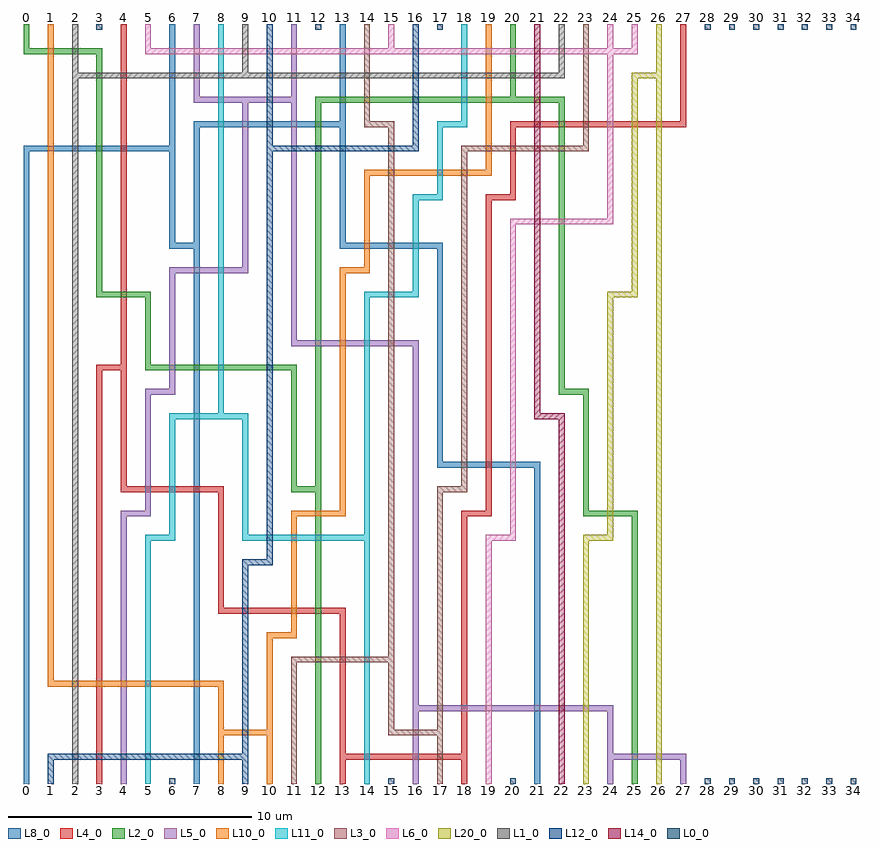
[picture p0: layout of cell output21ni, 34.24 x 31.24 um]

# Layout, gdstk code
import gdstk
lib = gdstk.Library(unit=1e-6, precision=1e-09)
def R(c, l, rs):  # rectangles x0, y0, x1, y1
    for r in rs: c.add(gdstk.rectangle(r[:2], r[2:], *l))
def A(c, l, x, y, w, h, nx, ny, dx, dy):  # array of equal rectangles
    R(c, l, [(x+i*dx, y+j*dy, x+i*dx+w, y+j*dy+h) for i in range(nx) for j in range(ny)])
L0_0 = (0, 0)
L1_0 = (1, 0)
L2_0 = (2, 0)
L3_0 = (3, 0)
L4_0 = (4, 0)
L5_0 = (5, 0)
L6_0 = (6, 0)
L8_0 = (8, 0)
L10_0 = (10, 0)
L11_0 = (11, 0)
L12_0 = (12, 0)
L14_0 = (14, 0)
L20_0 = (20, 0)

output21ni = lib.new_cell('output21ni')
A(output21ni, L0_0, 27.88, -0.12, 0.24, 0.24, 7, 2, 1, 31)
R(output21ni, L0_0, [(5.88,-0.12,6.12,0.12), (14.88,-0.12,15.12,0.12), (19.88,-0.12,20.12,0.12), (2.88,30.88,3.12,31.12), (11.88,30.88,12.12,31.12), (16.88,30.88,17.12,31.12)])
A(output21ni, L1_0, 1.88, 28.88, 1.24, 0.24, 20, 1, 1, 0)
R(output21ni, L1_0, [(1.88,-0.12,2.12,2.12), (1.88,-0.12,2.12,0.12), (1.88,1.88,2.12,29.12), (1.88,28.88,2.12,31.12), (8.88,28.88,9.12,31.12), (21.88,28.88,22.12,31.12), (1.88,30.88,2.12,31.12), (8.88,30.88,9.12,31.12), (21.88,30.88,22.12,31.12)])
A(output21ni, L2_0, 4.88, 16.88, 1.24, 0.24, 6, 1, 1, 0)
A(output21ni, L2_0, 11.88, 27.88, 1.24, 0.24, 10, 1, 1, 0)
A(output21ni, L2_0, -0.12, 29.88, 1.24, 0.24, 3, 1, 1, 0)
R(output21ni, L2_0, [(11.88,-0.12,12.12,1.12), (11.88,-0.12,12.12,0.12), (24.88,-0.12,25.12,2.12), (24.88,-0.12,25.12,0.12), (11.88,0.88,12.12,12.12), (24.88,1.88,25.12,11.12), (22.88,10.88,23.12,16.12), (22.88,10.88,24.12,11.12), (23.88,10.88,25.12,11.12), (10.88,11.88,11.12,17.12), (10.88,11.88,12.12,12.12), (11.88,11.88,12.12,17.12), (21.88,15.88,22.12,19.12), (21.88,15.88,23.12,16.12), (4.88,16.88,5.12,20.12), (11.88,16.88,12.12,22.12), (21.88,18.88,22.12,24.12), (2.88,19.88,3.12,25.12), (2.88,19.88,4.12,20.12), (3.88,19.88,5.12,20.12), (11.88,21.88,12.12,25.12), (21.88,23.88,22.12,28.12), (2.88,24.88,3.12,30.12), (11.88,24.88,12.12,28.12), (19.88,27.88,20.12,31.12), (-0.12,29.88,0.12,31.12), (-0.12,30.88,0.12,31.12), (19.88,30.88,20.12,31.12)])
A(output21ni, L3_0, 10.88, 4.88, 1.24, 0.24, 4, 1, 1, 0)
A(output21ni, L3_0, 17.88, 25.88, 1.24, 0.24, 5, 1, 1, 0)
R(output21ni, L3_0, [(10.88,-0.12,11.12,1.12), (10.88,-0.12,11.12,0.12), (16.88,-0.12,17.12,2.12), (16.88,-0.12,17.12,0.12), (10.88,0.88,11.12,5.12), (14.88,1.88,15.12,5.12), (14.88,1.88,16.12,2.12), (15.88,1.88,17.12,2.12), (16.88,1.88,17.12,7.12), (14.88,4.88,15.12,27.12), (16.88,6.88,17.12,12.12), (16.88,11.88,18.12,12.12), (17.88,11.88,18.12,17.12), (17.88,16.88,18.12,22.12), (17.88,21.88,18.12,26.12), (22.88,25.88,23.12,29.12), (13.88,26.88,14.12,31.12), (13.88,26.88,15.12,27.12), (22.88,28.88,23.12,31.12), (13.88,30.88,14.12,31.12), (22.88,30.88,23.12,31.12)])
A(output21ni, L4_0, 12.88, 0.88, 1.24, 0.24, 5, 1, 1, 0)
A(output21ni, L4_0, 2.88, 1.88, 0.24, 5.24, 1, 3, 0, 5)
A(output21ni, L4_0, 7.88, 6.88, 1.24, 0.24, 5, 1, 1, 0)
A(output21ni, L4_0, 3.88, 11.88, 1.24, 0.24, 4, 1, 1, 0)
A(output21ni, L4_0, 19.88, 26.88, 1.24, 0.24, 7, 1, 1, 0)
R(output21ni, L4_0, [(2.88,-0.12,3.12,2.12), (2.88,-0.12,3.12,0.12), (12.88,-0.12,13.12,1.12), (12.88,-0.12,13.12,0.12), (17.88,-0.12,18.12,1.12), (17.88,-0.12,18.12,0.12), (12.88,0.88,13.12,7.12), (17.88,0.88,18.12,6.12), (17.88,5.88,18.12,11.12), (7.88,6.88,8.12,12.12), (17.88,10.88,19.12,11.12), (18.88,10.88,19.12,16.12), (3.88,11.88,4.12,17.12), (18.88,15.88,19.12,21.12), (2.88,16.88,4.12,17.12), (3.88,16.88,4.12,30.12), (18.88,20.88,19.12,24.12), (18.88,23.88,20.12,24.12), (19.88,23.88,20.12,27.12), (26.88,26.88,27.12,30.12), (3.88,29.88,4.12,31.12), (26.88,29.88,27.12,31.12), (3.88,30.88,4.12,31.12), (26.88,30.88,27.12,31.12)])
A(output21ni, L5_0, 23.88, 0.88, 1.24, 0.24, 3, 1, 1, 0)
A(output21ni, L5_0, 15.88, 2.88, 1.24, 0.24, 8, 1, 1, 0)
A(output21ni, L5_0, 10.88, 17.88, 1.24, 0.24, 5, 1, 1, 0)
A(output21ni, L5_0, 5.88, 20.88, 1.24, 0.24, 3, 1, 1, 0)
A(output21ni, L5_0, 6.88, 27.88, 1.24, 0.24, 4, 1, 1, 0)
R(output21ni, L5_0, [(3.88,-0.12,4.12,2.12), (3.88,-0.12,4.12,0.12), (15.88,-0.12,16.12,3.12), (15.88,-0.12,16.12,0.12), (23.88,-0.12,24.12,1.12), (23.88,-0.12,24.12,0.12), (26.88,-0.12,27.12,1.12), (26.88,-0.12,27.12,0.12), (23.88,0.88,24.12,3.12), (3.88,1.88,4.12,7.12), (15.88,2.88,16.12,18.12), (3.88,6.88,4.12,11.12), (3.88,10.88,5.12,11.12), (4.88,10.88,5.12,16.12), (4.88,15.88,6.12,16.12), (5.88,15.88,6.12,21.12), (10.88,17.88,11.12,23.12), (8.88,20.88,9.12,28.12), (10.88,22.88,11.12,28.12), (6.88,27.88,7.12,31.12), (10.88,27.88,11.12,31.12), (6.88,30.88,7.12,31.12), (10.88,30.88,11.12,31.12)])
A(output21ni, L6_0, 19.88, 22.88, 1.24, 0.24, 4, 1, 1, 0)
A(output21ni, L6_0, 4.88, 29.88, 1.24, 0.24, 20, 1, 1, 0)
R(output21ni, L6_0, [(18.88,-0.12,19.12,1.12), (18.88,-0.12,19.12,0.12), (18.88,0.88,19.12,6.12), (18.88,5.88,19.12,10.12), (18.88,9.88,20.12,10.12), (19.88,9.88,20.12,15.12), (19.88,14.88,20.12,20.12), (19.88,19.88,20.12,23.12), (23.88,22.88,24.12,30.12), (4.88,29.88,5.12,31.12), (14.88,29.88,15.12,31.12), (23.88,29.88,24.12,31.12), (24.88,29.88,25.12,31.12), (4.88,30.88,5.12,31.12), (14.88,30.88,15.12,31.12), (23.88,30.88,24.12,31.12), (24.88,30.88,25.12,31.12)])
A(output21ni, L8_0, -0.12, 0.88, 0.24, 5.24, 1, 5, 0, 5)
A(output21ni, L8_0, 16.88, 12.88, 1.24, 0.24, 4, 1, 1, 0)
A(output21ni, L8_0, 12.88, 21.88, 1.24, 0.24, 4, 1, 1, 0)
A(output21ni, L8_0, -0.12, 25.88, 1.24, 0.24, 6, 1, 1, 0)
A(output21ni, L8_0, 6.88, 26.88, 1.24, 0.24, 6, 1, 1, 0)
R(output21ni, L8_0, [(-0.12,-0.12,0.12,1.12), (-0.12,-0.12,0.12,0.12), (6.88,-0.12,7.12,2.12), (6.88,-0.12,7.12,0.12), (20.88,-0.12,21.12,1.12), (20.88,-0.12,21.12,0.12), (20.88,0.88,21.12,13.12), (6.88,1.88,7.12,22.12), (16.88,12.88,17.12,17.12), (16.88,16.88,17.12,22.12), (5.88,21.88,6.12,26.12), (5.88,21.88,7.12,22.12), (6.88,21.88,7.12,27.12), (12.88,21.88,13.12,27.12), (5.88,25.88,6.12,28.12), (12.88,26.88,13.12,31.12), (5.88,27.88,6.12,31.12), (5.88,30.88,6.12,31.12), (12.88,30.88,13.12,31.12)])
A(output21ni, L10_0, 0.88, 3.88, 0.24, 5.24, 1, 5, 0, 5)
A(output21ni, L10_0, 0.88, 3.88, 1.24, 0.24, 7, 1, 1, 0)
A(output21ni, L10_0, 13.88, 24.88, 1.24, 0.24, 5, 1, 1, 0)
R(output21ni, L10_0, [(7.88,-0.12,8.12,2.12), (7.88,-0.12,8.12,0.12), (9.88,-0.12,10.12,1.12), (9.88,-0.12,10.12,0.12), (9.88,0.88,10.12,2.12), (7.88,1.88,8.12,4.12), (7.88,1.88,9.12,2.12), (8.88,1.88,10.12,2.12), (9.88,1.88,10.12,6.12), (9.88,5.88,11.12,6.12), (10.88,5.88,11.12,11.12), (10.88,10.88,12.12,11.12), (11.88,10.88,13.12,11.12), (12.88,10.88,13.12,16.12), (12.88,15.88,13.12,21.12), (12.88,20.88,14.12,21.12), (13.88,20.88,14.12,25.12), (18.88,24.88,19.12,27.12), (18.88,26.88,19.12,31.12), (0.88,28.88,1.12,31.12), (0.88,30.88,1.12,31.12), (18.88,30.88,19.12,31.12)])
A(output21ni, L11_0, 8.88, 9.88, 1.24, 0.24, 5, 1, 1, 0)
A(output21ni, L11_0, 5.88, 14.88, 1.24, 0.24, 3, 1, 1, 0)
R(output21ni, L11_0, [(4.88,-0.12,5.12,2.12), (4.88,-0.12,5.12,0.12), (13.88,-0.12,14.12,2.12), (13.88,-0.12,14.12,0.12), (4.88,1.88,5.12,7.12), (13.88,1.88,14.12,10.12), (4.88,6.88,5.12,10.12), (4.88,9.88,6.12,10.12), (5.88,9.88,6.12,15.12), (8.88,9.88,9.12,15.12), (13.88,9.88,14.12,15.12), (7.88,14.88,8.12,26.12), (13.88,14.88,14.12,20.12), (13.88,19.88,15.12,20.12), (14.88,19.88,16.12,20.12), (15.88,19.88,16.12,24.12), (15.88,23.88,17.12,24.12), (16.88,23.88,17.12,27.12), (7.88,25.88,8.12,31.12), (16.88,26.88,18.12,27.12), (17.88,26.88,18.12,31.12), (7.88,30.88,8.12,31.12), (17.88,30.88,18.12,31.12)])
A(output21ni, L12_0, 0.88, 0.88, 1.24, 0.24, 8, 1, 1, 0)
A(output21ni, L12_0, 9.88, 25.88, 1.24, 0.24, 6, 1, 1, 0)
R(output21ni, L12_0, [(0.88,-0.12,1.12,1.12), (0.88,-0.12,1.12,0.12), (8.88,-0.12,9.12,1.12), (8.88,-0.12,9.12,0.12), (8.88,0.88,9.12,6.12), (8.88,5.88,9.12,9.12), (8.88,8.88,10.12,9.12), (9.88,8.88,10.12,26.12), (9.88,25.88,10.12,31.12), (15.88,25.88,16.12,27.12), (15.88,26.88,16.12,31.12), (9.88,30.88,10.12,31.12), (15.88,30.88,16.12,31.12)])
R(output21ni, L14_0, [(21.88,-0.12,22.12,1.12), (21.88,-0.12,22.12,0.12), (21.88,0.88,22.12,15.12), (20.88,14.88,21.12,20.12), (20.88,14.88,22.12,15.12), (20.88,19.88,21.12,25.12), (20.88,24.88,21.12,31.12), (20.88,30.88,21.12,31.12)])
R(output21ni, L20_0, [(22.88,-0.12,23.12,1.12), (22.88,-0.12,23.12,0.12), (25.88,-0.12,26.12,31.12), (25.88,-0.12,26.12,0.12), (22.88,0.88,23.12,6.12), (22.88,5.88,23.12,10.12), (22.88,9.88,24.12,10.12), (23.88,9.88,24.12,15.12), (23.88,14.88,24.12,20.12), (23.88,19.88,25.12,20.12), (24.88,19.88,25.12,25.12), (24.88,24.88,25.12,29.12), (24.88,28.88,26.12,29.12), (25.88,30.88,26.12,31.12)])
output21ni.add(gdstk.Label('0', (0,31.4), layer=215, texttype=1))
output21ni.add(gdstk.Label('2', (0,31), layer=215, texttype=1))
output21ni.add(gdstk.Label('1', (1,31.4), layer=215, texttype=1))
output21ni.add(gdstk.Label('10', (1,31), layer=215, texttype=1))
output21ni.add(gdstk.Label('2', (2,31.4), layer=215, texttype=1))
output21ni.add(gdstk.Label('1', (2,31), layer=215, texttype=1))
output21ni.add(gdstk.Label('3', (3,31.4), layer=215, texttype=1))
output21ni.add(gdstk.Label('0', (3,31), layer=215, texttype=1))
output21ni.add(gdstk.Label('4', (4,31.4), layer=215, texttype=1))
output21ni.add(gdstk.Label('4', (4,31), layer=215, texttype=1))
output21ni.add(gdstk.Label('5', (5,31.4), layer=215, texttype=1))
output21ni.add(gdstk.Label('6', (5,31), layer=215, texttype=1))
output21ni.add(gdstk.Label('6', (6,31.4), layer=215, texttype=1))
output21ni.add(gdstk.Label('8', (6,31), layer=215, texttype=1))
output21ni.add(gdstk.Label('7', (7,31.4), layer=215, texttype=1))
output21ni.add(gdstk.Label('5', (7,31), layer=215, texttype=1))
output21ni.add(gdstk.Label('8', (8,31.4), layer=215, texttype=1))
output21ni.add(gdstk.Label('11', (8,31), layer=215, texttype=1))
output21ni.add(gdstk.Label('9', (9,31.4), layer=215, texttype=1))
output21ni.add(gdstk.Label('1', (9,31), layer=215, texttype=1))
output21ni.add(gdstk.Label('10', (10,31.4), layer=215, texttype=1))
output21ni.add(gdstk.Label('12', (10,31), layer=215, texttype=1))
output21ni.add(gdstk.Label('11', (11,31.4), layer=215, texttype=1))
output21ni.add(gdstk.Label('5', (11,31), layer=215, texttype=1))
output21ni.add(gdstk.Label('12', (12,31.4), layer=215, texttype=1))
output21ni.add(gdstk.Label('0', (12,31), layer=215, texttype=1))
output21ni.add(gdstk.Label('13', (13,31.4), layer=215, texttype=1))
output21ni.add(gdstk.Label('8', (13,31), layer=215, texttype=1))
output21ni.add(gdstk.Label('14', (14,31.4), layer=215, texttype=1))
output21ni.add(gdstk.Label('3', (14,31), layer=215, texttype=1))
output21ni.add(gdstk.Label('15', (15,31.4), layer=215, texttype=1))
output21ni.add(gdstk.Label('6', (15,31), layer=215, texttype=1))
output21ni.add(gdstk.Label('16', (16,31.4), layer=215, texttype=1))
output21ni.add(gdstk.Label('12', (16,31), layer=215, texttype=1))
output21ni.add(gdstk.Label('17', (17,31.4), layer=215, texttype=1))
output21ni.add(gdstk.Label('0', (17,31), layer=215, texttype=1))
output21ni.add(gdstk.Label('18', (18,31.4), layer=215, texttype=1))
output21ni.add(gdstk.Label('11', (18,31), layer=215, texttype=1))
output21ni.add(gdstk.Label('19', (19,31.4), layer=215, texttype=1))
output21ni.add(gdstk.Label('10', (19,31), layer=215, texttype=1))
output21ni.add(gdstk.Label('20', (20,31.4), layer=215, texttype=1))
output21ni.add(gdstk.Label('2', (20,31), layer=215, texttype=1))
output21ni.add(gdstk.Label('21', (21,31.4), layer=215, texttype=1))
output21ni.add(gdstk.Label('14', (21,31), layer=215, texttype=1))
output21ni.add(gdstk.Label('22', (22,31.4), layer=215, texttype=1))
output21ni.add(gdstk.Label('1', (22,31), layer=215, texttype=1))
output21ni.add(gdstk.Label('23', (23,31.4), layer=215, texttype=1))
output21ni.add(gdstk.Label('3', (23,31), layer=215, texttype=1))
output21ni.add(gdstk.Label('24', (24,31.4), layer=215, texttype=1))
output21ni.add(gdstk.Label('6', (24,31), layer=215, texttype=1))
output21ni.add(gdstk.Label('25', (25,31.4), layer=215, texttype=1))
output21ni.add(gdstk.Label('6', (25,31), layer=215, texttype=1))
output21ni.add(gdstk.Label('26', (26,31.4), layer=215, texttype=1))
output21ni.add(gdstk.Label('20', (26,31), layer=215, texttype=1))
output21ni.add(gdstk.Label('27', (27,31.4), layer=215, texttype=1))
output21ni.add(gdstk.Label('4', (27,31), layer=215, texttype=1))
output21ni.add(gdstk.Label('28', (28,31.4), layer=215, texttype=1))
output21ni.add(gdstk.Label('0', (28,31), layer=215, texttype=1))
output21ni.add(gdstk.Label('29', (29,31.4), layer=215, texttype=1))
output21ni.add(gdstk.Label('0', (29,31), layer=215, texttype=1))
output21ni.add(gdstk.Label('30', (30,31.4), layer=215, texttype=1))
output21ni.add(gdstk.Label('0', (30,31), layer=215, texttype=1))
output21ni.add(gdstk.Label('31', (31,31.4), layer=215, texttype=1))
output21ni.add(gdstk.Label('0', (31,31), layer=215, texttype=1))
output21ni.add(gdstk.Label('32', (32,31.4), layer=215, texttype=1))
output21ni.add(gdstk.Label('0', (32,31), layer=215, texttype=1))
output21ni.add(gdstk.Label('33', (33,31.4), layer=215, texttype=1))
output21ni.add(gdstk.Label('0', (33,31), layer=215, texttype=1))
output21ni.add(gdstk.Label('34', (34,31.4), layer=215, texttype=1))
output21ni.add(gdstk.Label('0', (34,31), layer=215, texttype=1))
output21ni.add(gdstk.Label('0', (0,-0.4), layer=215, texttype=1))
output21ni.add(gdstk.Label('8', (0,0), layer=215, texttype=1))
output21ni.add(gdstk.Label('1', (1,-0.4), layer=215, texttype=1))
output21ni.add(gdstk.Label('12', (1,0), layer=215, texttype=1))
output21ni.add(gdstk.Label('2', (2,-0.4), layer=215, texttype=1))
output21ni.add(gdstk.Label('1', (2,0), layer=215, texttype=1))
output21ni.add(gdstk.Label('3', (3,-0.4), layer=215, texttype=1))
output21ni.add(gdstk.Label('4', (3,0), layer=215, texttype=1))
output21ni.add(gdstk.Label('4', (4,-0.4), layer=215, texttype=1))
output21ni.add(gdstk.Label('5', (4,0), layer=215, texttype=1))
output21ni.add(gdstk.Label('5', (5,-0.4), layer=215, texttype=1))
output21ni.add(gdstk.Label('11', (5,0), layer=215, texttype=1))
output21ni.add(gdstk.Label('6', (6,-0.4), layer=215, texttype=1))
output21ni.add(gdstk.Label('0', (6,0), layer=215, texttype=1))
output21ni.add(gdstk.Label('7', (7,-0.4), layer=215, texttype=1))
output21ni.add(gdstk.Label('8', (7,0), layer=215, texttype=1))
output21ni.add(gdstk.Label('8', (8,-0.4), layer=215, texttype=1))
output21ni.add(gdstk.Label('10', (8,0), layer=215, texttype=1))
output21ni.add(gdstk.Label('9', (9,-0.4), layer=215, texttype=1))
output21ni.add(gdstk.Label('12', (9,0), layer=215, texttype=1))
output21ni.add(gdstk.Label('10', (10,-0.4), layer=215, texttype=1))
output21ni.add(gdstk.Label('10', (10,0), layer=215, texttype=1))
output21ni.add(gdstk.Label('11', (11,-0.4), layer=215, texttype=1))
output21ni.add(gdstk.Label('3', (11,0), layer=215, texttype=1))
output21ni.add(gdstk.Label('12', (12,-0.4), layer=215, texttype=1))
output21ni.add(gdstk.Label('2', (12,0), layer=215, texttype=1))
output21ni.add(gdstk.Label('13', (13,-0.4), layer=215, texttype=1))
output21ni.add(gdstk.Label('4', (13,0), layer=215, texttype=1))
output21ni.add(gdstk.Label('14', (14,-0.4), layer=215, texttype=1))
output21ni.add(gdstk.Label('11', (14,0), layer=215, texttype=1))
output21ni.add(gdstk.Label('15', (15,-0.4), layer=215, texttype=1))
output21ni.add(gdstk.Label('0', (15,0), layer=215, texttype=1))
output21ni.add(gdstk.Label('16', (16,-0.4), layer=215, texttype=1))
output21ni.add(gdstk.Label('5', (16,0), layer=215, texttype=1))
output21ni.add(gdstk.Label('17', (17,-0.4), layer=215, texttype=1))
output21ni.add(gdstk.Label('3', (17,0), layer=215, texttype=1))
output21ni.add(gdstk.Label('18', (18,-0.4), layer=215, texttype=1))
output21ni.add(gdstk.Label('4', (18,0), layer=215, texttype=1))
output21ni.add(gdstk.Label('19', (19,-0.4), layer=215, texttype=1))
output21ni.add(gdstk.Label('6', (19,0), layer=215, texttype=1))
output21ni.add(gdstk.Label('20', (20,-0.4), layer=215, texttype=1))
output21ni.add(gdstk.Label('0', (20,0), layer=215, texttype=1))
output21ni.add(gdstk.Label('21', (21,-0.4), layer=215, texttype=1))
output21ni.add(gdstk.Label('8', (21,0), layer=215, texttype=1))
output21ni.add(gdstk.Label('22', (22,-0.4), layer=215, texttype=1))
output21ni.add(gdstk.Label('14', (22,0), layer=215, texttype=1))
output21ni.add(gdstk.Label('23', (23,-0.4), layer=215, texttype=1))
output21ni.add(gdstk.Label('20', (23,0), layer=215, texttype=1))
output21ni.add(gdstk.Label('24', (24,-0.4), layer=215, texttype=1))
output21ni.add(gdstk.Label('5', (24,0), layer=215, texttype=1))
output21ni.add(gdstk.Label('25', (25,-0.4), layer=215, texttype=1))
output21ni.add(gdstk.Label('2', (25,0), layer=215, texttype=1))
output21ni.add(gdstk.Label('26', (26,-0.4), layer=215, texttype=1))
output21ni.add(gdstk.Label('20', (26,0), layer=215, texttype=1))
output21ni.add(gdstk.Label('27', (27,-0.4), layer=215, texttype=1))
output21ni.add(gdstk.Label('5', (27,0), layer=215, texttype=1))
output21ni.add(gdstk.Label('28', (28,-0.4), layer=215, texttype=1))
output21ni.add(gdstk.Label('0', (28,0), layer=215, texttype=1))
output21ni.add(gdstk.Label('29', (29,-0.4), layer=215, texttype=1))
output21ni.add(gdstk.Label('0', (29,0), layer=215, texttype=1))
output21ni.add(gdstk.Label('30', (30,-0.4), layer=215, texttype=1))
output21ni.add(gdstk.Label('0', (30,0), layer=215, texttype=1))
output21ni.add(gdstk.Label('31', (31,-0.4), layer=215, texttype=1))
output21ni.add(gdstk.Label('0', (31,0), layer=215, texttype=1))
output21ni.add(gdstk.Label('32', (32,-0.4), layer=215, texttype=1))
output21ni.add(gdstk.Label('0', (32,0), layer=215, texttype=1))
output21ni.add(gdstk.Label('33', (33,-0.4), layer=215, texttype=1))
output21ni.add(gdstk.Label('0', (33,0), layer=215, texttype=1))
output21ni.add(gdstk.Label('34', (34,-0.4), layer=215, texttype=1))
output21ni.add(gdstk.Label('0', (34,0), layer=215, texttype=1))

lib.write_gds('output21ni.gds')
